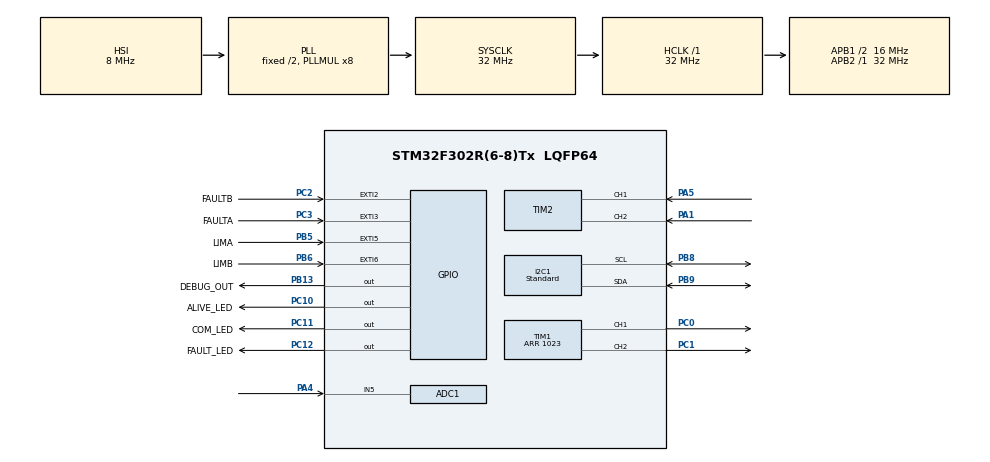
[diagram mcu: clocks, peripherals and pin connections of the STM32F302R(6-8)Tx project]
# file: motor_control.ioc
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ADC1.Channel-2\#ChannelRegularConversion=ADC_CHANNEL_5
ADC1.EnableInjectedConversion=DISABLE
ADC1.ExternalTrigConv=ADC_EXTERNALTRIGCONV_T1_TRGO
ADC1.ExternalTrigConvEdge=ADC_EXTERNALTRIGCONVEDGE_RISING
ADC1.NbrOfConversionFlag=1
ADC1.Offset-2\#ChannelRegularConversion=0
ADC1.OffsetNumber-2\#ChannelRegularConversion=ADC_OFFSET_NONE
ADC1.Rank-2\#ChannelRegularConversion=1
ADC1.Resolution=ADC_RESOLUTION_12B
ADC1.SamplingTime-2\#ChannelRegularConversion=ADC_SAMPLETIME_1CYCLE_5
ADC1.SubFamily=STM32F302x8
ADC1.master=1
I2C1.I2C_Fall_Time=0
I2C1.I2C_Rise_Time=0
I2C1.I2C_Speed_Mode=I2C_Standard
I2C1.OwnAddress=SLAVE_ADDRESS
Mcu.Family=STM32F3
Mcu.Name=STM32F302R(6-8)Tx
Mcu.Package=LQFP64
NVIC.ADC1_IRQn=true\:0\:1\:false\:false\:true\:true\:true\:true
NVIC.EXTI9_5_IRQn=true\:0\:0\:false\:false\:true\:true\:true\:true
NVIC.I2C1_ER_IRQn=true\:0\:0\:false\:false\:true\:true\:true\:true
NVIC.I2C1_EV_IRQn=true\:0\:0\:false\:false\:true\:true\:true\:true
NVIC.PriorityGroup=NVIC_PRIORITYGROUP_0
PA0.Signal=ADC1_IN1
PA1.GPIO_PuPd=GPIO_PULLUP
PA1.Signal=S_TIM2_CH2
PA10.Signal=SPI2_MISO
PA11.Signal=SPI2_MOSI
PA13.GPIO_Label=TMS
PA13.Mode=Serial_Wire
PA13.Signal=SYS_JTMS-SWDIO
PA14.GPIO_Label=TCK
PA14.Mode=Serial_Wire
PA14.Signal=SYS_JTCK-SWCLK
PA2.Signal=USART2_TX
PA3.Signal=USART2_RX
PA4.Mode=IN5-Single-Ended
PA4.Signal=ADC1_IN5
PA5.GPIO_PuPd=GPIO_PULLUP
PA5.Signal=S_TIM2_CH1_ETR
PB13.GPIO_Label=DEBUG_OUT
PB13.Signal=GPIO_Output
PB3.GPIO_Label=SWO
PB3.Mode=Trace_Asynchronous_SW
PB3.Signal=SYS_JTDO-TRACESWO
PB5.GPIO_Label=LIMA
PB5.GPIO_PuPd=GPIO_PULLUP
PB5.Signal=GPXTI5
PB6.GPIO_Label=LIMB
PB6.GPIO_ModeDefaultEXTI=GPIO_MODE_IT_RISING
PB6.GPIO_PuPd=GPIO_PULLUP
PB6.Signal=GPXTI6
PB8.GPIO_Pu=GPIO_PULLUP
PB8.Mode=I2C
PB8.Signal=I2C1_SCL
PB9.GPIO_Pu=GPIO_PULLUP
PB9.Mode=I2C
PB9.Signal=I2C1_SDA
PC0.Signal=S_TIM1_CH1
PC1.Signal=S_TIM1_CH2
PC10.GPIO_Label=ALIVE_LED
PC10.Signal=GPIO_Output
PC11.GPIO_Label=COM_LED
PC11.Signal=GPIO_Output
PC12.GPIO_Label=FAULT_LED
PC12.GPIO_Speed=GPIO_SPEED_FREQ_HIGH
PC12.Signal=GPIO_Output
PC14\ -\ OSC32_IN.Signal=RCC_OSC32_IN
PC15\ -\ OSC32_OUT.Signal=RCC_OSC32_OUT
PC2.GPIO_Label=FAULTB
PC2.GPIO_ModeDefaultEXTI=GPIO_MODE_IT_FALLING
PC2.GPIO_PuPd=GPIO_PULLUP
PC2.Signal=GPXTI2
PC3.GPIO_Label=FAULTA
PC3.GPIO_ModeDefaultEXTI=GPIO_MODE_IT_FALLING
PC3.GPIO_PuPd=GPIO_PULLUP
PC3.Signal=GPXTI3
PF0-OSC_IN.Signal=RCC_OSC_IN
PF1-OSC_OUT.Signal=RCC_OSC_OUT
ProjectManager.HeapSize=0x200
ProjectManager.StackSize=0x400
ProjectManager.TargetToolchain=STM32CubeIDE
RCC.AHBFreq_Value=32000000
RCC.APB1CLKDivider=RCC_HCLK_DIV2
RCC.APB1Freq_Value=16000000
RCC.APB1TimFreq_Value=32000000
RCC.APB2Freq_Value=32000000
RCC.APB2TimFreq_Value=32000000
RCC.CortexFreq_Value=32000000
RCC.HCLKFreq_Value=32000000
RCC.HSE_VALUE=8000000
RCC.HSI_VALUE=8000000
RCC.LSE_VALUE=32768
RCC.PLLM=8
RCC.PLLMUL=RCC_PLL_MUL8
RCC.PLLN=336
RCC.PLLP=RCC_PLLP_DIV4
RCC.PLLQ=7
RCC.RCC_PLLsource_Clock_Source_FROM_HSE=RCC_HSE_PREDIV_DIV2
RCC.SYSCLKFreq_VALUE=32000000
RCC.SYSCLKSourceVirtual=RCC_SYSCLKSOURCE_PLLCLK
RCC.USBFreq_Value=32000000
SH.S_TIM1_CH1.0=TIM1_CH1,PWM Generation1 CH1
SH.S_TIM1_CH2.0=TIM1_CH2,PWM Generation2 CH2
SH.S_TIM2_CH1_ETR.0=TIM2_CH1,Encoder_Interface
SH.S_TIM2_CH2.0=TIM2_CH2,Encoder_Interface
TIM1.AutoReloadPreload=TIM_AUTORELOAD_PRELOAD_ENABLE
TIM1.Channel-Output\ Compare3\ No\ Output=TIM_CHANNEL_3
TIM1.Channel-PWM\ Generation1\ CH1=TIM_CHANNEL_1
TIM1.Channel-PWM\ Generation2\ CH2=TIM_CHANNEL_2
TIM1.CounterMode=TIM_COUNTERMODE_CENTERALIGNED1
TIM1.OCMode_3=TIM_OCMODE_TOGGLE
TIM1.OCPolarity_1=TIM_OCPOLARITY_LOW
TIM1.OCPolarity_2=TIM_OCPOLARITY_LOW
TIM1.Period=1023
TIM1.Pulse-Output\ Compare3\ No\ Output=2
TIM1.TIM_MasterOutputTrigger=TIM_TRGO_OC3REF
TIM2.CounterMode=TIM_COUNTERMODE_UP
TIM2.EncoderMode=TIM_ENCODERMODE_TI12
VP_TIM1_VS_no_output3.Mode=Output Compare3 No Output
board=NUCLEO-F302R8

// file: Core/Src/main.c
/* USER CODE BEGIN Header */
/**
 ******************************************************************************
 * @file  main.c
 * @brief Main program body
 ******************************************************************************
 * @attention
 *
 * Copyright (c) 2025 STMicroelectronics.
 * All rights reserved.
 *
 * This software is licensed under terms that can be found in the LICENSE file
 * in the root directory of this software component.
 * If no LICENSE file comes with this software, it is provided AS-IS.
 *
 ******************************************************************************
 */
/* USER CODE END Header */
#include "main.h"

ADC_HandleTypeDef hadc1;

I2C_HandleTypeDef hi2c1;

TIM_HandleTypeDef htim1;
TIM_HandleTypeDef htim2;

/* USER CODE BEGIN PV */
/** @todo These are here for debug, they should be moved somewhere else at a latter stage */
float maxacc = 0.1;
float maxvel = 2;
/** @todo These are here for debug, they should be moved somewhere else at a latter stage */
uint32_t received_data;
uint8_t received_address;

uint32_t count;

uint32_t ADC_value;

float di_dt = 0, t_decay = 0, I_peak = 0;

/*
 * 0: position control mode (default)
 * 1: speed control mode
 */
uint32_t control_mode = POS_MODE;

float setpoint_current_vel, measured_speed_old;
float setpoint_speed_in;
uint32_t time_at_min_halt;
uint32_t time_at_max_halt;
uint32_t  last_time_A = 0, last_time_B = 0;
uint8_t  last_state_A = 0, last_state_B = 0;
float Halt_command = 1.0f;
/* USER CODE END PV */

void SystemClock_Config(void);
static void MX_GPIO_Init(void);
static void MX_ADC1_Init(void);
static void MX_TIM1_Init(void);
static void MX_TIM2_Init(void);
static void MX_I2C1_Init(void);
/* USER CODE BEGIN PFP */
uint8_t is_switch_pressed_debounced(GPIO_TypeDef* port, uint16_t pin, uint8_t *last_state, uint32_t *last_time);
/* USER CODE END PFP */

int main(void)
{

  /* MCU Configuration--------------------------------------------------------*/

  /* Reset of all peripherals, Initializes the Flash interface and the Systick. */
  HAL_Init();

  /* Configure the system clock */
  SystemClock_Config();

  /* Initialize all configured peripherals */
  MX_GPIO_Init();
  MX_ADC1_Init();
  MX_TIM1_Init();
  MX_TIM2_Init();
  MX_I2C1_Init();
  /* USER CODE BEGIN 2 */
	// Starts the motor encoders
	HAL_TIM_Encoder_Start(&htim2, TIM_CHANNEL_1);
	HAL_TIM_Encoder_Start(&htim2, TIM_CHANNEL_2);
	// Starts the timers for PWM generation
	HAL_TIM_PWM_Start(&htim1, TIM_CHANNEL_1);
	HAL_TIM_PWM_Start(&htim1, TIM_CHANNEL_2);
	HAL_TIM_PWM_Start(&htim1, TIM_CHANNEL_3);

	// Global variables initialization
	serial_communication_variable_init();
	controller_variables_init();

	// Allows for the motor controller to properly initialize at startup
	__HAL_TIM_SET_COMPARE(&htim1, TIM_CHANNEL_1, 0);
	__HAL_TIM_SET_COMPARE(&htim1, TIM_CHANNEL_2, 0);
	// See p. 10 of the MAX22201.pdf datasheet. We need to give time to the motor driver to properly startup
	HAL_Delay(1);

	// Check if the motor has already engaged a limit switch
	if (HAL_GPIO_ReadPin(LIMB_GPIO_Port, LIMB_Pin)) {
		motor_halt_max = 1;
	}
	if (HAL_GPIO_ReadPin(LIMA_GPIO_Port, LIMA_Pin)) {
		motor_halt_min = 1;
	}

	HAL_ADCEx_Calibration_Start(&hadc1, ADC_SINGLE_ENDED);

	// WATCH OUT: this must be ALWAYS put AFTER the motor controller initialization delay!!!
	HAL_ADC_Start_IT(&hadc1);

	// Properly initializes the motion_profile function parameters
	target_position = 0;
	position_at_call = measured_position;
	time_at_call = HAL_GetTick();

	// All initializations are okay. Turn on the ALIVE status LED
	HAL_GPIO_WritePin(ALIVE_LED_GPIO_Port, ALIVE_LED_Pin, GPIO_PIN_SET);

	HAL_I2C_EnableListen_IT(&hi2c1);

	//	target_position = -0.8f;
	//	position_at_call = measured_position;
	//	time_at_call = HAL_GetTick();
	//
	//	HAL_Delay(20000);
	//
	//	target_position = -0.1f;
	//		position_at_call = measured_position;
	//		time_at_call = HAL_GetTick();

	HAL_GPIO_WritePin(DEBUG_OUT_GPIO_Port, DEBUG_OUT_Pin, GPIO_PIN_RESET);

  /* USER CODE END 2 */

  /* Infinite loop */
	while (1)
	{

    /* USER CODE BEGIN 3 */
#if 1
		/*
		 * Resets the motor_halt flag which prevents the motor from moving further when the limit switches are disengaged.
		 * (see also HAL_GPIO_EXTI_Callback)
		 *
		 * The motor start moving when we command a new velocity in the opposite
		 * direction wrt the location of the limit switch.
		 */
		// POBLEM: switch bounces when disengaged
		if (motor_halt_max == 1 && is_switch_pressed_debounced(LIMB_GPIO_Port, LIMB_Pin, &last_state_B, &last_time_B)) {
			motor_halt_max = 0;
		}
		if (motor_halt_min == 1 && is_switch_pressed_debounced(LIMA_GPIO_Port, LIMA_Pin, &last_state_A, &last_time_A)) {
			motor_halt_min = 0;
		}

		//		setpoint_position = -0.8;
		//		HAL_Delay(3000);
		//		setpoint_position = -0.1;
		//		HAL_Delay(3000);

		//HAL_Delay(10);
#else
		target_position = 50;
		position_at_call = measured_position;
		time_at_call = HAL_GetTick();
		HAL_Delay(7000);
		target_position = -50;
		position_at_call = measured_position;
		time_at_call = HAL_GetTick();
		HAL_Delay(7000);
		target_position = 50;
		position_at_call = measured_position;
		time_at_call = HAL_GetTick();
		HAL_Delay(7000);
		target_position = 100;
		position_at_call = measured_position;
		time_at_call = HAL_GetTick();
		HAL_Delay(7000);
		target_position = 0;
		position_at_call = measured_position;
		time_at_call = HAL_GetTick();
		HAL_Delay(7000);
#endif
	}
  /* USER CODE END 3 */
}

void SystemClock_Config(void)
{
  RCC_OscInitTypeDef RCC_OscInitStruct = {0};
  RCC_ClkInitTypeDef RCC_ClkInitStruct = {0};
  RCC_PeriphCLKInitTypeDef PeriphClkInit = {0};

  /** Initializes the RCC Oscillators according to the specified parameters
  * in the RCC_OscInitTypeDef structure.
  */
  RCC_OscInitStruct.OscillatorType = RCC_OSCILLATORTYPE_HSI;
  RCC_OscInitStruct.HSIState = RCC_HSI_ON;
  RCC_OscInitStruct.HSICalibrationValue = RCC_HSICALIBRATION_DEFAULT;
  RCC_OscInitStruct.PLL.PLLState = RCC_PLL_ON;
  RCC_OscInitStruct.PLL.PLLSource = RCC_PLLSOURCE_HSI;
  RCC_OscInitStruct.PLL.PLLMUL = RCC_PLL_MUL8;
  if (HAL_RCC_OscConfig(&RCC_OscInitStruct) != HAL_OK)
  {
    Error_Handler();
  }

  /** Initializes the CPU, AHB and APB buses clocks
  */
  RCC_ClkInitStruct.ClockType = RCC_CLOCKTYPE_HCLK|RCC_CLOCKTYPE_SYSCLK
                              |RCC_CLOCKTYPE_PCLK1|RCC_CLOCKTYPE_PCLK2;
  RCC_ClkInitStruct.SYSCLKSource = RCC_SYSCLKSOURCE_PLLCLK;
  RCC_ClkInitStruct.AHBCLKDivider = RCC_SYSCLK_DIV1;
  RCC_ClkInitStruct.APB1CLKDivider = RCC_HCLK_DIV2;
  RCC_ClkInitStruct.APB2CLKDivider = RCC_HCLK_DIV1;

  if (HAL_RCC_ClockConfig(&RCC_ClkInitStruct, FLASH_LATENCY_1) != HAL_OK)
  {
    Error_Handler();
  }
  PeriphClkInit.PeriphClockSelection = RCC_PERIPHCLK_I2C1|RCC_PERIPHCLK_TIM1
                              |RCC_PERIPHCLK_ADC1;
  PeriphClkInit.I2c1ClockSelection = RCC_I2C1CLKSOURCE_HSI;
  PeriphClkInit.Tim1ClockSelection = RCC_TIM1CLK_HCLK;
  PeriphClkInit.Adc1ClockSelection = RCC_ADC1PLLCLK_DIV1;

  if (HAL_RCCEx_PeriphCLKConfig(&PeriphClkInit) != HAL_OK)
  {
    Error_Handler();
  }
}

static void MX_ADC1_Init(void)
{

  ADC_ChannelConfTypeDef sConfig = {0};

  /** Common config
  */
  hadc1.Instance = ADC1;
  hadc1.Init.ClockPrescaler = ADC_CLOCK_ASYNC_DIV1;
  hadc1.Init.Resolution = ADC_RESOLUTION_12B;
  hadc1.Init.ScanConvMode = ADC_SCAN_DISABLE;
  hadc1.Init.ContinuousConvMode = DISABLE;
  hadc1.Init.DiscontinuousConvMode = DISABLE;
  hadc1.Init.ExternalTrigConvEdge = ADC_EXTERNALTRIGCONVEDGE_RISING;
  hadc1.Init.ExternalTrigConv = ADC_EXTERNALTRIGCONV_T1_TRGO;
  hadc1.Init.DataAlign = ADC_DATAALIGN_RIGHT;
  hadc1.Init.NbrOfConversion = 1;
  hadc1.Init.DMAContinuousRequests = DISABLE;
  hadc1.Init.EOCSelection = ADC_EOC_SINGLE_CONV;
  hadc1.Init.LowPowerAutoWait = DISABLE;
  hadc1.Init.Overrun = ADC_OVR_DATA_OVERWRITTEN;
  if (HAL_ADC_Init(&hadc1) != HAL_OK)
  {
    Error_Handler();
  }

  /** Configure Regular Channel
  */
  sConfig.Channel = ADC_CHANNEL_5;
  sConfig.Rank = ADC_REGULAR_RANK_1;
  sConfig.SingleDiff = ADC_SINGLE_ENDED;
  sConfig.SamplingTime = ADC_SAMPLETIME_1CYCLE_5;
  sConfig.OffsetNumber = ADC_OFFSET_NONE;
  sConfig.Offset = 0;
  if (HAL_ADC_ConfigChannel(&hadc1, &sConfig) != HAL_OK)
  {
    Error_Handler();
  }

}

static void MX_I2C1_Init(void)
{

  hi2c1.Instance = I2C1;
  hi2c1.Init.Timing = 0x2000090E;
  hi2c1.Init.OwnAddress1 = SLAVE_ADDRESS;
  hi2c1.Init.AddressingMode = I2C_ADDRESSINGMODE_7BIT;
  hi2c1.Init.DualAddressMode = I2C_DUALADDRESS_DISABLE;
  hi2c1.Init.OwnAddress2 = 0;
  hi2c1.Init.OwnAddress2Masks = I2C_OA2_NOMASK;
  hi2c1.Init.GeneralCallMode = I2C_GENERALCALL_DISABLE;
  hi2c1.Init.NoStretchMode = I2C_NOSTRETCH_DISABLE;
  if (HAL_I2C_Init(&hi2c1) != HAL_OK)
  {
    Error_Handler();
  }

  /** Configure Analogue filter
  */
  if (HAL_I2CEx_ConfigAnalogFilter(&hi2c1, I2C_ANALOGFILTER_ENABLE) != HAL_OK)
  {
    Error_Handler();
  }

  /** Configure Digital filter
  */
  if (HAL_I2CEx_ConfigDigitalFilter(&hi2c1, 0) != HAL_OK)
  {
    Error_Handler();
  }

}

static void MX_TIM1_Init(void)
{

  TIM_MasterConfigTypeDef sMasterConfig = {0};
  TIM_OC_InitTypeDef sConfigOC = {0};
  TIM_BreakDeadTimeConfigTypeDef sBreakDeadTimeConfig = {0};

  htim1.Instance = TIM1;
  htim1.Init.Prescaler = 0;
  htim1.Init.CounterMode = TIM_COUNTERMODE_CENTERALIGNED1;
  htim1.Init.Period = 1023;
  htim1.Init.ClockDivision = TIM_CLOCKDIVISION_DIV1;
  htim1.Init.RepetitionCounter = 0;
  htim1.Init.AutoReloadPreload = TIM_AUTORELOAD_PRELOAD_ENABLE;
  if (HAL_TIM_PWM_Init(&htim1) != HAL_OK)
  {
    Error_Handler();
  }
  if (HAL_TIM_OC_Init(&htim1) != HAL_OK)
  {
    Error_Handler();
  }
  sMasterConfig.MasterOutputTrigger = TIM_TRGO_OC3REF;
  sMasterConfig.MasterOutputTrigger2 = TIM_TRGO2_RESET;
  sMasterConfig.MasterSlaveMode = TIM_MASTERSLAVEMODE_DISABLE;
  if (HAL_TIMEx_MasterConfigSynchronization(&htim1, &sMasterConfig) != HAL_OK)
  {
    Error_Handler();
  }
  sConfigOC.OCMode = TIM_OCMODE_PWM1;
  sConfigOC.Pulse = 0;
  sConfigOC.OCPolarity = TIM_OCPOLARITY_LOW;
  sConfigOC.OCNPolarity = TIM_OCNPOLARITY_HIGH;
  sConfigOC.OCFastMode = TIM_OCFAST_DISABLE;
  sConfigOC.OCIdleState = TIM_OCIDLESTATE_RESET;
  sConfigOC.OCNIdleState = TIM_OCNIDLESTATE_RESET;
  if (HAL_TIM_PWM_ConfigChannel(&htim1, &sConfigOC, TIM_CHANNEL_1) != HAL_OK)
  {
    Error_Handler();
  }
  if (HAL_TIM_PWM_ConfigChannel(&htim1, &sConfigOC, TIM_CHANNEL_2) != HAL_OK)
  {
    Error_Handler();
  }
  sConfigOC.OCMode = TIM_OCMODE_TOGGLE;
  sConfigOC.Pulse = 2;
  sConfigOC.OCPolarity = TIM_OCPOLARITY_HIGH;
  if (HAL_TIM_OC_ConfigChannel(&htim1, &sConfigOC, TIM_CHANNEL_3) != HAL_OK)
  {
    Error_Handler();
  }
  sBreakDeadTimeConfig.OffStateRunMode = TIM_OSSR_DISABLE;
  sBreakDeadTimeConfig.OffStateIDLEMode = TIM_OSSI_DISABLE;
  sBreakDeadTimeConfig.LockLevel = TIM_LOCKLEVEL_OFF;
  sBreakDeadTimeConfig.DeadTime = 0;
  sBreakDeadTimeConfig.BreakState = TIM_BREAK_DISABLE;
  sBreakDeadTimeConfig.BreakPolarity = TIM_BREAKPOLARITY_HIGH;
  sBreakDeadTimeConfig.BreakFilter = 0;
  sBreakDeadTimeConfig.Break2State = TIM_BREAK2_DISABLE;
  sBreakDeadTimeConfig.Break2Polarity = TIM_BREAK2POLARITY_HIGH;
  sBreakDeadTimeConfig.Break2Filter = 0;
  sBreakDeadTimeConfig.AutomaticOutput = TIM_AUTOMATICOUTPUT_DISABLE;
  if (HAL_TIMEx_ConfigBreakDeadTime(&htim1, &sBreakDeadTimeConfig) != HAL_OK)
  {
    Error_Handler();
  }
  HAL_TIM_MspPostInit(&htim1);

}

static void MX_TIM2_Init(void)
{

  TIM_Encoder_InitTypeDef sConfig = {0};
  TIM_MasterConfigTypeDef sMasterConfig = {0};

  htim2.Instance = TIM2;
  htim2.Init.Prescaler = 0;
  htim2.Init.CounterMode = TIM_COUNTERMODE_UP;
  htim2.Init.Period = 4294967295;
  htim2.Init.ClockDivision = TIM_CLOCKDIVISION_DIV1;
  htim2.Init.AutoReloadPreload = TIM_AUTORELOAD_PRELOAD_DISABLE;
  sConfig.EncoderMode = TIM_ENCODERMODE_TI12;
  sConfig.IC1Polarity = TIM_ICPOLARITY_RISING;
  sConfig.IC1Selection = TIM_ICSELECTION_DIRECTTI;
  sConfig.IC1Prescaler = TIM_ICPSC_DIV1;
  sConfig.IC1Filter = 0;
  sConfig.IC2Polarity = TIM_ICPOLARITY_RISING;
  sConfig.IC2Selection = TIM_ICSELECTION_DIRECTTI;
  sConfig.IC2Prescaler = TIM_ICPSC_DIV1;
  sConfig.IC2Filter = 0;
  if (HAL_TIM_Encoder_Init(&htim2, &sConfig) != HAL_OK)
  {
    Error_Handler();
  }
  sMasterConfig.MasterOutputTrigger = TIM_TRGO_RESET;
  sMasterConfig.MasterSlaveMode = TIM_MASTERSLAVEMODE_DISABLE;
  if (HAL_TIMEx_MasterConfigSynchronization(&htim2, &sMasterConfig) != HAL_OK)
  {
    Error_Handler();
  }

}

static void MX_GPIO_Init(void)
{
  GPIO_InitTypeDef GPIO_InitStruct = {0};

  /* GPIO Ports Clock Enable */
  __HAL_RCC_GPIOC_CLK_ENABLE();
  __HAL_RCC_GPIOF_CLK_ENABLE();
  __HAL_RCC_GPIOA_CLK_ENABLE();
  __HAL_RCC_GPIOB_CLK_ENABLE();

  /*Configure GPIO pin Output Level */
  HAL_GPIO_WritePin(DEBUG_OUT_GPIO_Port, DEBUG_OUT_Pin, GPIO_PIN_RESET);

  /*Configure GPIO pin Output Level */
  HAL_GPIO_WritePin(GPIOC, ALIVE_LED_Pin|COM_LED_Pin|FAULT_LED_Pin, GPIO_PIN_RESET);

  /*Configure GPIO pins : FAULTB_Pin FAULTA_Pin */
  GPIO_InitStruct.Pin = FAULTB_Pin|FAULTA_Pin;
  GPIO_InitStruct.Mode = GPIO_MODE_IT_FALLING;
  GPIO_InitStruct.Pull = GPIO_PULLUP;
  HAL_GPIO_Init(GPIOC, &GPIO_InitStruct);

  /*Configure GPIO pins : PA2 PA3 */
  GPIO_InitStruct.Pin = GPIO_PIN_2|GPIO_PIN_3;
  GPIO_InitStruct.Mode = GPIO_MODE_AF_PP;
  GPIO_InitStruct.Pull = GPIO_NOPULL;
  GPIO_InitStruct.Speed = GPIO_SPEED_FREQ_HIGH;
  GPIO_InitStruct.Alternate = GPIO_AF7_USART2;
  HAL_GPIO_Init(GPIOA, &GPIO_InitStruct);

  /*Configure GPIO pin : DEBUG_OUT_Pin */
  GPIO_InitStruct.Pin = DEBUG_OUT_Pin;
  GPIO_InitStruct.Mode = GPIO_MODE_OUTPUT_PP;
  GPIO_InitStruct.Pull = GPIO_NOPULL;
  GPIO_InitStruct.Speed = GPIO_SPEED_FREQ_LOW;
  HAL_GPIO_Init(DEBUG_OUT_GPIO_Port, &GPIO_InitStruct);

  /*Configure GPIO pins : PA10 PA11 */
  GPIO_InitStruct.Pin = GPIO_PIN_10|GPIO_PIN_11;
  GPIO_InitStruct.Mode = GPIO_MODE_AF_PP;
  GPIO_InitStruct.Pull = GPIO_NOPULL;
  GPIO_InitStruct.Speed = GPIO_SPEED_FREQ_HIGH;
  GPIO_InitStruct.Alternate = GPIO_AF5_SPI2;
  HAL_GPIO_Init(GPIOA, &GPIO_InitStruct);

  /*Configure GPIO pins : ALIVE_LED_Pin COM_LED_Pin */
  GPIO_InitStruct.Pin = ALIVE_LED_Pin|COM_LED_Pin;
  GPIO_InitStruct.Mode = GPIO_MODE_OUTPUT_PP;
  GPIO_InitStruct.Pull = GPIO_NOPULL;
  GPIO_InitStruct.Speed = GPIO_SPEED_FREQ_LOW;
  HAL_GPIO_Init(GPIOC, &GPIO_InitStruct);

  /*Configure GPIO pin : FAULT_LED_Pin */
  GPIO_InitStruct.Pin = FAULT_LED_Pin;
  GPIO_InitStruct.Mode = GPIO_MODE_OUTPUT_PP;
  GPIO_InitStruct.Pull = GPIO_NOPULL;
  GPIO_InitStruct.Speed = GPIO_SPEED_FREQ_HIGH;
  HAL_GPIO_Init(FAULT_LED_GPIO_Port, &GPIO_InitStruct);

  /*Configure GPIO pins : LIMA_Pin LIMB_Pin */
  GPIO_InitStruct.Pin = LIMA_Pin|LIMB_Pin;
  GPIO_InitStruct.Mode = GPIO_MODE_IT_RISING;
  GPIO_InitStruct.Pull = GPIO_PULLUP;
  HAL_GPIO_Init(GPIOB, &GPIO_InitStruct);

  /* EXTI interrupt init*/
  HAL_NVIC_SetPriority(EXTI9_5_IRQn, 0, 0);
  HAL_NVIC_EnableIRQ(EXTI9_5_IRQn);

}

/* USER CODE BEGIN 4 */
int execute_read_command(uint8_t read_address)
{
	int ret_val = COMM_ERR;
	ui32_to_f conv;
	uint16_t packet_size;

	switch (read_address)
	{
	case VIRTUAL_MEM_POSITION_MEAS:
		conv.f = measured_position;
		packet_size = prepare_WRITE_packet(tx_buffer, read_address, conv.ui32);
		// Sends the read data back to the master
		//HAL_I2C_Slave_Transmit_DMA(&hi2c1, tx_buffer, MAX_COMM_BUFFER_SIZE);
		//HAL_I2C_Slave_Transmit_IT(&hi2c1, tx_buffer, MAX_COMM_BUFFER_SIZE);
		HAL_I2C_Slave_Seq_Transmit_IT(&hi2c1, tx_buffer, MAX_COMM_BUFFER_SIZE, I2C_FIRST_AND_LAST_FRAME);
		ret_val = COMM_OK;
		break;
	case VIRTUAL_MEM_SPEED_MEAS:
		conv.f = measured_speed;
		packet_size = prepare_WRITE_packet(tx_buffer, read_address, conv.ui32);
		// Sends the read data back to the master
		//HAL_I2C_Slave_Transmit_DMA(&hi2c1, tx_buffer, MAX_COMM_BUFFER_SIZE);
		//HAL_I2C_Slave_Transmit_IT(&hi2c1, tx_buffer, MAX_COMM_BUFFER_SIZE);
		HAL_I2C_Slave_Seq_Transmit_IT(&hi2c1, tx_buffer, MAX_COMM_BUFFER_SIZE, I2C_FIRST_AND_LAST_FRAME);
		ret_val = COMM_OK;
		break;
	default:
		ret_val = COMM_ERR;
		break;
	}

	return ret_val;
}

int execute_write_command(uint8_t write_address, uint32_t data)
{
	int ret_val = COMM_ERR;
	ui32_to_f conv;
	conv.ui32 = data;

	switch (write_address)
	{
	case VIRTUAL_MEM_POSITION:
		/*
		 * Refuse to update the target position until we have completed the current trajectory.
		 * This prevents janky motor movements when master updates the position faster than
		 * the motor can keep up with.
		 */
		/** @todo set proper precision */

		//if (fabs(target_position - measured_position) < 0.01 && control_mode == FULL_MODE)
		//{
		target_position = conv.f;
		position_at_call = measured_position;
		time_at_call = HAL_GetTick();
		//}
		ret_val = COMM_OK;
		break;

	case VIRTUAL_MEM_SPEED:
		setpoint_speed = conv.f;
		ret_val = COMM_OK;
		break;

	case VIRTUAL_MEM_MODE:
		control_mode = data;
//		if(data == POS_MODE) {
//			target_position = measured_position;
//			position_at_call = measured_position;
//			time_at_call = HAL_GetTick();
//		}
		if(data == SPD_MODE)
			setpoint_speed = 0;
		ret_val = COMM_OK;
		break;

	default:
		ret_val = COMM_ERR;
		break;
	}

	return ret_val;
}

void HAL_I2C_SlaveRxCpltCallback (I2C_HandleTypeDef *hi2c1)
{
	HAL_GPIO_TogglePin(COM_LED_GPIO_Port, COM_LED_Pin);
	//Perform different actions based on the received command
	switch (rx_buffer[0])
	{
	case COMMAND_WRITE:
		read_data_from_WRITE_command(rx_buffer, &received_address, &received_data);
		execute_write_command(received_address, received_data);
		// Restore the halt mode
		Halt_command = 1.0f;
		/* No answer for now
		 uint16_t packet_size;
		 if(execute_write_command(received_address, received_data) == COMM_OK)
		 packet_size = prepare_ACK_packet(tx_buffer);
		 else
		 packet_size = prepare_NACK_packet(tx_buffer);
		 HAL_I2C_Slave_Transmit(&hi2c1, tx_buffer, packet_size, 10);
		 */
		break;
	case COMMAND_READ:
		received_address = rx_buffer[2];
		//execute_read_command(received_address);
		break;
	case COMMAND_STOP:
		// halt the motor
		Halt_command = 0.0f;
		break;
	}

	return;
}

/** @brief Converts the encoder AB data to a motor position in radians */
float read_position_from_encoder(void)
{
	/*
	 * __HAL_TIM_GET_COUNTER(&htim2)  = number of counted encoder impulses
	 * (2 * 3.14f / (PPR_ENCODER * 4) = impulses per revolution in 4x mode, converted into radians
	 *      PPR_ENCODER: base number of impulses per revolution
	 * 		* 4 : encoder is in x4 mode (we count both the rising and falling edges)
	 * 		2*pi: converts into radians
	 */
	return (int32_t) (__HAL_TIM_GET_COUNTER(&htim2)) * (2 * 3.14f / (PPR_ENCODER * 4));
}

/**
 * @brief Handles the GPIO callback
 * @param GPIO_Pin
 */
void HAL_GPIO_EXTI_Callback(uint16_t GPIO_Pin)
{
	if (GPIO_Pin == LIMA_Pin)
	{
		//		// Saves the last position when the limit switch sensor is reached
		//		last_position_min = read_position_from_encoder();
		//		setpoint_position = last_position_min;
		//		// Halts the motor immediately
		//		motor_halt_min = true;

		// When limit is reached force the velocity to 0 and save the current position
		// For debounce the halt flag is cleared in software after xx ms
		if(motor_halt_min == 0) {
			motor_halt_min = 1;
			time_at_max_halt = HAL_GetTick();
			last_position_min = read_position_from_encoder();
		}
	}

	if (GPIO_Pin == LIMB_Pin)
	{
		//		last_position_max = read_position_from_encoder();
		//		setpoint_position = last_position_max;
		//		motor_halt_max = true;

		if(motor_halt_max == 0) {
			motor_halt_max = 1;
			time_at_min_halt = HAL_GetTick();
			last_position_max = read_position_from_encoder();
		}
	}

	if (GPIO_Pin == FAULTA_Pin)
	{
		Error_Handler();
	}

	if (GPIO_Pin == FAULTB_Pin)
	{
		Error_Handler();
	}
}

/**
 * @brief Handles the ADC end of conversion callback
 *
 * @param hadc ADC handler object
 */
void HAL_ADC_ConvCpltCallback(ADC_HandleTypeDef *hadc)
{
	HAL_GPIO_WritePin(DEBUG_OUT_GPIO_Port, DEBUG_OUT_Pin, GPIO_PIN_SET);
	bool direction;
	//uint32_t ADC_value;

	//Per prima cosa calcoliamo la corrente nel motore
	ADC_value = HAL_ADC_GetValue(hadc);
	/** Converts the measured ADC_value into a current in Amperes
	 *  - 3.3f: the fullscale voltage of the ADC is 3.3V
	 *  - 4095.0f: we have a 12 bit ADC
	 *  - 5.0f: is the internal gain of the amplifier inside the motor driver
	 *  - 0.1f: is the value of the shunt resistor
	 */
	//measured_current = ADC_value * 3.3f/4095.0f/5.0f/0.1f;
	measured_current = ADC_value * 3.3f/4095.0f/0.1f;

	/* Position control loop */
	//Eseguo il loop di velocità ogni tot iterazioni del loop di corrente
	interrupt_counter++;

	if (interrupt_counter % 10 == 0)
	{
		if (control_mode == POS_MODE)
		{
			//Motion Profiling
			setpoint_position = motion_profile(maxacc, maxvel, target_position, position_at_call, HAL_GetTick(), time_at_call);
			// Salvo posizione
			measured_position = read_position_from_encoder();

			setpoint_speed = PI_controller(setpoint_position, measured_position, &loop_parameters_position);
		}
		//If in SPD_MODE, speed gets set by execute_write_command
	}

	/* Speed control loop */
	if (interrupt_counter % 5 == 0)
	{
		if (control_mode == POS_MODE || control_mode == SPD_MODE)
		{
			measured_position = (int32_t) (__HAL_TIM_GET_COUNTER(&htim2)) * (2 * 3.14f / (PPR_ENCODER * 4));

			// calculation in rad/sec
			measured_speed = (measured_position - old_position) / loop_parameters_speed.T;

			if(motor_halt_min){
				if(setpoint_speed > 0)
					setpoint_speed_in = setpoint_speed;
				else
					setpoint_speed_in = 0;
			}
			else if(motor_halt_max){
				if(setpoint_speed < 0)
					setpoint_speed_in = setpoint_speed;
				else
					setpoint_speed_in = 0;
			}
			else
			{
				setpoint_speed_in = setpoint_speed;
			}

			setpoint_speed_in = setpoint_speed_in * Halt_command;

			// Filtro velocity
			filtered_speed = ALPHA * measured_speed + (1 - ALPHA) * filtered_speed;

			// Filtro velocity
			//filtered_speed = 0.3758f * measured_speed + 0.3758f * measured_speed_old + 0.2484f * filtered_speed;

			measured_speed_old = measured_speed;

			setpoint_current_vel = PI_controller(setpoint_speed_in, filtered_speed, &loop_parameters_speed);

			old_position = measured_position;
		}
	}

	// Aggiungo feedforward di coppia
	setpoint_current  = setpoint_current_vel + spring_compensation_current + setpoint_position*K_SPRING;

	if (setpoint_current > 0)
		direction = 1;
	else if (setpoint_current < 0)
		direction = 0;

	// Se il valore pwm precedente è zero, calcola la corrente dal modello utilizzando la corrente precedentemente
	// misurata dal ADC

	if((output_current / 12.0f * 1023) <= 20)
	{
		measured_current = I_peak * exp(-(R / L) * t_decay);
		t_decay += loop_parameters_current.T * (1 - output_current / 12.0f);
	}
	else
	{
		t_decay = loop_parameters_current.T * (1 - output_current / 12.0f);

		// 2. Compute current slope during high-side ON
		//float di_dt = (V_bus - V_emf - I_mid * R) / L;
		di_dt = (12 - measured_current * R) / L;

		// 3. Estimate peak current at end of high-side ON
		I_peak = measured_current + di_dt * (output_current / 12.0f * loop_parameters_current.T / 2);
		//I_peak = measured_current;
	}

	/* Current control loop */
	// Parametri calcolati per 12volt output
	// Per funzionare la corrente deve essere scalata al valore pwm
	output_current = PI_controller(fabs(setpoint_current), measured_current, &loop_parameters_current);

	/*
	 * Halts the motor (i.e., sets current target to 0) whenever a limit switch
	 * is reached (i.e., when either motor_halt_max or motor_halt_min becomes true).
	 */
	//if (!(motor_halt_max || motor_halt_min))
	if (true)
	{
		// pilotaggio pwm
		if (direction)
		{
			__HAL_TIM_SET_COMPARE(&htim1, TIM_CHANNEL_1, (int16_t )(output_current / 12.0f * 1023));
			__HAL_TIM_SET_COMPARE(&htim1, TIM_CHANNEL_2, 0);
		}
		else
		{
			__HAL_TIM_SET_COMPARE(&htim1, TIM_CHANNEL_1, 0);
			__HAL_TIM_SET_COMPARE(&htim1, TIM_CHANNEL_2, (int16_t )(output_current / 12.0f * 1023));
		}
	}
	else
	{
		__HAL_TIM_SET_COMPARE(&htim1, TIM_CHANNEL_1, 0);
		__HAL_TIM_SET_COMPARE(&htim1, TIM_CHANNEL_2, 0);
	}
	HAL_GPIO_WritePin(DEBUG_OUT_GPIO_Port, DEBUG_OUT_Pin, GPIO_PIN_RESET);
}

void HAL_I2C_ListenCpltCallback (I2C_HandleTypeDef *hi2c)
{
	// Re-enable i2c listen
	HAL_I2C_EnableListen_IT(hi2c);
}

void HAL_I2C_AddrCallback(I2C_HandleTypeDef *hi2c, uint8_t TransferDirection, uint16_t AddrMatchCode)
{
	if(TransferDirection == I2C_DIRECTION_TRANSMIT)  // if the master wants to transmit the data
	{
		//HAL_I2C_Slave_Sequential_Receive_IT(hi2c, rx_buffer, 32, I2C_FIRST_AND_LAST_FRAME);
		if(HAL_I2C_Slave_Sequential_Receive_IT(hi2c, rx_buffer, MAX_COMM_BUFFER_SIZE, I2C_FIRST_AND_LAST_FRAME) != HAL_OK)
		{
			Error_Handler();
		}
		//HAL_I2C_Slave_Receive_DMA(hi2c, rx_buffer, MAX_COMM_BUFFER_SIZE);
	}
	else  // master requesting the data
	{
		execute_read_command(received_address);
	}
}

void HAL_I2C_SlaveTxCpltCallback(I2C_HandleTypeDef *hi2c)
{

}

void HAL_I2C_ErrorCallback(I2C_HandleTypeDef *hi2c)
{
	//HAL_I2C_EnableListen_IT(hi2c);
	HAL_GPIO_WritePin(FAULT_LED_GPIO_Port, FAULT_LED_Pin, GPIO_PIN_SET);

	//Reset the I2C interface.
	HAL_I2C_DeInit(&hi2c1);
	HAL_I2C_Init(&hi2c1);

	HAL_GPIO_WritePin(FAULT_LED_GPIO_Port, FAULT_LED_Pin, GPIO_PIN_RESET);
}

uint8_t is_switch_pressed_debounced(GPIO_TypeDef* port, uint16_t pin, uint8_t *last_state, uint32_t *last_time) {
	uint8_t current_state = HAL_GPIO_ReadPin(port, pin);
	uint32_t current_tick = HAL_GetTick();

	if (current_state != *last_state) {
		*last_time = current_tick;
		*last_state = current_state;
	}

	return ((current_tick - *last_time) >= 5) && !current_state;
}

/* USER CODE END 4 */

void Error_Handler(void)
{
  /* USER CODE BEGIN Error_Handler_Debug */
	/* User can add his own implementation to report the HAL error return state */
	__disable_irq();
	while (1)
	{
		HAL_GPIO_TogglePin(FAULT_LED_GPIO_Port, FAULT_LED_Pin);
		HAL_Delay(1000);
	}
  /* USER CODE END Error_Handler_Debug */
}
